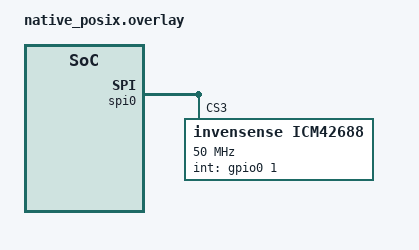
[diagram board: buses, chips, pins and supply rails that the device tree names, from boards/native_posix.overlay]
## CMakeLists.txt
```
# Copyright (c) 2023 Google LLC
# SPDX-License-Identifier: Apache-2.0

cmake_minimum_required(VERSION 3.28.0)
find_package(Zephyr REQUIRED HINTS $ENV{ZEPHYR_BASE})
project(device)

target_sources(app PRIVATE src/main.c)
```

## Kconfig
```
# Copyright (c) 2024 CogniPilot Foundation
# SPDX-License-Identifier: Apache-2.0

mainmenu "ICM42688 Test"

source "Kconfig.zephyr"

config ICM42688_TEST_EMUL
	bool "run emulation test"
```

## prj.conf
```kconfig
# Copyright (c) 2023 Google LLC
# SPDX-License-Identifier: Apache-2.0

CONFIG_ZTEST=y

# Enable GPIO
CONFIG_GPIO=y

# Enable sensors
CONFIG_SENSOR=y

# Enable emulation
CONFIG_EMUL=y

CONFIG_SENSOR_ASYNC_API=y
CONFIG_SENSOR_CLOCK_SYSTEM=y
```

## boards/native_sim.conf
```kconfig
CONFIG_ICM42688_TEST_EMUL=y
```

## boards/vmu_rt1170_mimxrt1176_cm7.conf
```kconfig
CONFIG_ICM42688_TEST_EMUL=n
CONFIG_DEBUG=y
CONFIG_SPEED_OPTIMIZATIONS=n
CONFIG_SIZE_OPTIMIZATIONS=n
CONFIG_SENSOR_SHELL_STREAM=y
CONFIG_SENSOR_LOG_LEVEL_DBG=n
CONFIG_RTIO_SUBMIT_SEM=y
CONFIG_SPI_RTIO=y
CONFIG_SPI_ASYNC=y
CONFIG_SYS_CLOCK_TICKS_PER_SEC=10000
```

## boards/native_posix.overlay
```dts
/* Copyright (c) 2023 Google LLC
 * SPDX-License-Identifier: Apache-2.0
 */

&spi0 {
	icm42688: icm42688@3 {
		compatible = "invensense,icm42688";
		int-gpios = <&gpio0 1 GPIO_ACTIVE_HIGH>;
		spi-max-frequency = <DT_FREQ_M(50)>;
		reg = <3>;
	};
};
```

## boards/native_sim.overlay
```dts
/* Copyright (c) 2023 Google LLC
 * SPDX-License-Identifier: Apache-2.0
 */

&spi0 {
	icm42688: icm42688@3 {
		compatible = "invensense,icm42688", "invensense,icm4268x";
		reg = <3>;
		int-gpios = <&gpio0 1 GPIO_ACTIVE_HIGH>;
		spi-max-frequency = <50000000>;
	};
};
```

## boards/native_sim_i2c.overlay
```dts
/* Copyright (c) 2023 Google LLC
 * SPDX-License-Identifier: Apache-2.0
 */

&spi0 {
	status = "disabled";
};

&i2c0 {
	clock-frequency = <I2C_BITRATE_FAST_PLUS>;

	icm42688: icm42688@3 {
		compatible = "invensense,icm42688";
		status = "okay";
		int-gpios = <&gpio0 1 GPIO_ACTIVE_HIGH>;
		reg = <3>;
	};
};
```

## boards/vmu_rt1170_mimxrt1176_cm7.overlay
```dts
/* SPDX-License-Identifier: Apache-2.0 */
/* Copyright 2023 CogniPilot Foundation */

&lpspi1 {
	/delete-node/ icm42688p0@0;
	/delete-property/ dmas;
	/delete-property/ dma-names;
};
```

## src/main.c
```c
/*
 * Copyright (c) 2023 Google LLC
 * SPDX-License-Identifier: Apache-2.0
 */

#include <zephyr/device.h>
#include <zephyr/devicetree.h>
#include <zephyr/drivers/emul.h>
#include <zephyr/drivers/gpio.h>
#include <zephyr/drivers/gpio/gpio_emul.h>
#include <zephyr/drivers/sensor.h>
#include <zephyr/fff.h>
#include <zephyr/ztest.h>

#include <icm4268x_emul.h>
#include <icm4268x_reg.h>

#define NODE DT_NODELABEL(icm42688)

DEFINE_FFF_GLOBALS;

struct icm42688_fixture {
	const struct device *dev;
	const struct emul *target;
};

static void *icm42688_setup(void)
{
	static struct icm42688_fixture fixture = {
		.dev = DEVICE_DT_GET(DT_NODELABEL(icm42688)),
		.target = EMUL_DT_GET(DT_NODELABEL(icm42688)),
	};

	zassert_not_null(fixture.dev);
	zassert_not_null(fixture.target);
	return &fixture;
}

ZTEST_SUITE(icm42688, NULL, icm42688_setup, NULL, NULL, NULL);

ZTEST_F(icm42688, test_fetch_fail_no_ready_data)
{
	uint8_t status = 0;

	icm4268x_emul_set_reg(fixture->target, REG_INT_STATUS, &status, 1);
	zassert_equal(-EBUSY, sensor_sample_fetch(fixture->dev));
}

static void test_fetch_temp_mc(const struct icm42688_fixture *fixture, int16_t temperature_mc)
{
	struct sensor_value value;
	int64_t expected_uc;
	int64_t actual_uc;
	int16_t temperature_reg;
	uint8_t buffer[2];

	/* Set the INT_STATUS register to show we have data */
	buffer[0] = BIT_DATA_RDY_INT;
	icm4268x_emul_set_reg(fixture->target, REG_INT_STATUS, buffer, 1);

	/*
	 * Set the temperature data to 22.5C via:
	 *   reg_val / 132.48 + 25
	 */
	temperature_reg = ((temperature_mc - 25000) * 13248) / 100000;
	buffer[0] = (temperature_reg >> 8) & GENMASK(7, 0);
	buffer[1] = temperature_reg & GENMASK(7, 0);
	icm4268x_emul_set_reg(fixture->target, REG_TEMP_DATA1, buffer, 2);

	/* Fetch the data */
	zassert_ok(sensor_sample_fetch(fixture->dev));
	zassert_ok(sensor_channel_get(fixture->dev, SENSOR_CHAN_DIE_TEMP, &value));

	/* Assert data is within 5 milli-C of the tested temperature */
	expected_uc = temperature_mc * INT64_C(1000);
	actual_uc = sensor_value_to_micro(&value);
	zassert_within(expected_uc, actual_uc, INT64_C(5000),
		       "Expected %" PRIi64 "uC, got %" PRIi64 "uC", expected_uc, actual_uc);
}

ZTEST_F(icm42688, test_fetch_temp)
{
	/* Test 22.5C */
	test_fetch_temp_mc(fixture, 22500);
	/* Test -3.175C */
	test_fetch_temp_mc(fixture, -3175);
}

static void test_fetch_accel_with_range(const struct icm42688_fixture *fixture,
					int16_t accel_range_g, const int16_t accel_percent[3])
{
	struct sensor_value values[3];
	int32_t expect_ug;
	int32_t actual_ug;
	uint8_t register_buffer[6];

	/* Se the INT_STATUS register to show we have data */
	register_buffer[0] = BIT_DATA_RDY_INT;
	icm4268x_emul_set_reg(fixture->target, REG_INT_STATUS, register_buffer, 1);

	/* Set accel range */
	sensor_g_to_ms2(accel_range_g, &values[0]);
	zassert_ok(sensor_attr_set(fixture->dev, SENSOR_CHAN_ACCEL_XYZ, SENSOR_ATTR_FULL_SCALE,
				   &values[0]));

	/* Set the accel data accel_percent * accel_range_g */
	for (int i = 0; i < 3; ++i) {
		register_buffer[i * 2] = (accel_percent[i] >> 8) & GENMASK(7, 0);
		register_buffer[i * 2 + 1] = accel_percent[i] & GENMASK(7, 0);
	}
	icm4268x_emul_set_reg(fixture->target, REG_ACCEL_DATA_X1, register_buffer, 6);

	/* Fetch the data */
	zassert_ok(sensor_sample_fetch(fixture->dev));
	zassert_ok(sensor_channel_get(fixture->dev, SENSOR_CHAN_ACCEL_XYZ, values));

	/* Assert the data is within 0.005g (0.05m/s2) */
	actual_ug = sensor_ms2_to_ug(&values[0]);
	expect_ug = (int32_t)(accel_percent[0] * INT64_C(1000000) * accel_range_g / INT16_MAX);
	zassert_within(expect_ug, actual_ug, INT32_C(5000),
		       "Expected %" PRIi32 " ug, got X=%" PRIi32 " ug", expect_ug, actual_ug);

	actual_ug = sensor_ms2_to_ug(&values[1]);
	expect_ug = (int32_t)(accel_percent[1] * INT64_C(1000000) * accel_range_g / INT16_MAX);
	zassert_within(expect_ug, actual_ug, INT32_C(5000),
		       "Expected %" PRIi32 " ug, got X=%" PRIi32 " ug", expect_ug, actual_ug);

	actual_ug = sensor_ms2_to_ug(&values[2]);
	expect_ug = (int32_t)(accel_percent[2] * INT64_C(1000000) * accel_range_g / INT16_MAX);
	zassert_within(expect_ug, actual_ug, INT32_C(5000),
		       "Expected %" PRIi32 " ug, got X=%" PRIi32 " ug", expect_ug, actual_ug);
}

ZTEST_F(icm42688, test_fetch_accel)
{
	/* Use (0.25, -0.33.., 0.91) * range for testing accel values */
	const int16_t accel_percent[3] = {
		INT16_MAX / INT16_C(4),
		INT16_MIN / INT16_C(3),
		(int16_t)((INT16_MAX * INT32_C(91)) / INT32_C(100)),
	};

	test_fetch_accel_with_range(fixture, 2, accel_percent);
	test_fetch_accel_with_range(fixture, 4, accel_percent);
	test_fetch_accel_with_range(fixture, 8, accel_percent);
	test_fetch_accel_with_range(fixture, 16, accel_percent);
}

static void test_fetch_gyro_with_range(const struct icm42688_fixture *fixture, int32_t scale_mdps,
				       const int16_t gyro_percent[3])
{
	/* Set the epsilon to 0.075% of the scale */
	const int32_t epsilon_10udps = scale_mdps * 75 / 1000;
	struct sensor_value values[3];
	int32_t expect_10udps;
	int32_t actual_10udps;
	uint8_t register_buffer[6];

	/* Se the INT_STATUS register to show we have data */
	register_buffer[0] = BIT_DATA_RDY_INT;
	icm4268x_emul_set_reg(fixture->target, REG_INT_STATUS, register_buffer, 1);

	/* Set gyro range */
	sensor_degrees_to_rad((scale_mdps / 1000) + (scale_mdps % 1000 == 0 ? 0 : 1), &values[0]);
	zassert_ok(sensor_attr_set(fixture->dev, SENSOR_CHAN_GYRO_XYZ, SENSOR_ATTR_FULL_SCALE,
				   &values[0]));

	/* Set the gyro data to gyro_percent */
	for (int i = 0; i < 3; ++i) {
		register_buffer[i * 2] = (gyro_percent[i] >> 8) & GENMASK(7, 0);
		register_buffer[i * 2 + 1] = gyro_percent[i] & GENMASK(7, 0);
	}
	icm4268x_emul_set_reg(fixture->target, REG_GYRO_DATA_X1, register_buffer, 6);

	/* Fetch the data */
	zassert_ok(sensor_sample_fetch(fixture->dev));
	zassert_ok(sensor_channel_get(fixture->dev, SENSOR_CHAN_GYRO_XYZ, values));

	/* Assert the data is within 0.5 d/s (0.001 rad/s) */
	actual_10udps = sensor_rad_to_10udegrees(&values[0]);
	expect_10udps = (int32_t)(gyro_percent[0] * INT64_C(100) * scale_mdps / INT16_MAX);
	zassert_within(expect_10udps, actual_10udps, epsilon_10udps,
		       "[scale=%" PRIi32 "md/s] Expected %" PRIi32 " 10ud/s, got %" PRIi32
		       " 10ud/s",
		       scale_mdps, expect_10udps, actual_10udps);

	actual_10udps = sensor_rad_to_10udegrees(&values[1]);
	expect_10udps = (int32_t)(gyro_percent[1] * INT64_C(100) * scale_mdps / INT16_MAX);
	zassert_within(expect_10udps, actual_10udps, epsilon_10udps,
		       "[scale=%" PRIi32 "md/s] Expected %" PRIi32 " 10ud/s, got %" PRIi32
		       " 10ud/s, ",
		       scale_mdps, expect_10udps, actual_10udps);

	actual_10udps = sensor_rad_to_10udegrees(&values[2]);
	expect_10udps = (int32_t)(gyro_percent[2] * INT64_C(100) * scale_mdps / INT16_MAX);
	zassert_within(expect_10udps, actual_10udps, epsilon_10udps,
		       "[scale=%" PRIi32 "md/s] Expected %" PRIi32 " 10ud/s, got %" PRIi32
		       " 10ud/s",
		       scale_mdps, expect_10udps, actual_10udps);
}

ZTEST_F(icm42688, test_fetch_gyro)
{
	/* Use (0.15, 0.68, -0.22) * range for testing gyro values */
	const int16_t gyro_percent[3] = {
		(int16_t)((INT16_MAX * INT32_C(15)) / INT32_C(100)),
		(int16_t)((INT16_MAX * INT32_C(68)) / INT32_C(100)),
		(int16_t)((INT16_MAX * INT32_C(-22)) / INT32_C(100)),
	};

	test_fetch_gyro_with_range(fixture, 2000000, gyro_percent);
	test_fetch_gyro_with_range(fixture, 1000000, gyro_percent);
	test_fetch_gyro_with_range(fixture, 500000, gyro_percent);
	test_fetch_gyro_with_range(fixture, 250000, gyro_percent);
	test_fetch_gyro_with_range(fixture, 125000, gyro_percent);
	test_fetch_gyro_with_range(fixture, 62500, gyro_percent);
	test_fetch_gyro_with_range(fixture, 31250, gyro_percent);
	test_fetch_gyro_with_range(fixture, 15625, gyro_percent);
}

FAKE_VOID_FUNC(test_interrupt_trigger_handler, const struct device*, const struct sensor_trigger*);

ZTEST_F(icm42688, test_interrupt)
{
	const struct gpio_dt_spec spec = GPIO_DT_SPEC_GET(NODE, int_gpios);
	const struct sensor_trigger trigger = {
		.type = SENSOR_TRIG_DATA_READY,
		.chan = SENSOR_CHAN_ALL,
	};

	RESET_FAKE(test_interrupt_trigger_handler);
	sensor_trigger_set(fixture->dev, &trigger, test_interrupt_trigger_handler);

	/* Toggle the GPIO */
	gpio_emul_input_set(spec.port, spec.pin, 0);
	k_msleep(5);
	gpio_emul_input_set(spec.port, spec.pin, 1);
	k_msleep(5);

	/* Verify the handler was called */
	zassert_equal(test_interrupt_trigger_handler_fake.call_count, 1);
}
```

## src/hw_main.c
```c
/*
 * Copyright (c) 2024 CogniPilot Foundation
 * SPDX-License-Identifier: Apache-2.0
 */

#include <stdio.h>
#include <math.h>
#include <zephyr/device.h>
#include <zephyr/kernel.h>
#include <zephyr/ztest.h>
#include <zephyr/rtio/rtio.h>
#include <zephyr/drivers/sensor.h>
#include <zephyr/logging/log.h>

#define BATCH_DURATION 50

double q31_to_double(int32_t q31_value, int8_t shift)
{
	return ((double)q31_value) / (double)(1 << (31 - shift));
}

static struct rtio_sqe *streaming_handle;

static struct sensor_stream_trigger stream_trigger = {
	.opt = SENSOR_STREAM_DATA_INCLUDE,
	.trigger = SENSOR_TRIG_FIFO_WATERMARK,
};

static struct sensor_read_config stream_config = {
	.sensor = DEVICE_DT_GET(DT_NODELABEL(icm42688_1)),
	.is_streaming = true,
	.triggers = &stream_trigger,
	.count = 0,
	.max = 1,
};

static RTIO_IODEV_DEFINE(iodev_stream, &__sensor_iodev_api, &stream_config);
RTIO_DEFINE_WITH_MEMPOOL(rtio, 4, 4, 32, 64, 4);

static void callback(int result, uint8_t *buf, uint32_t buf_len, void *userdata)
{
	static uint8_t decoded_buffer[127];

	zassert_not_null(stream_config.sensor->api);
	const struct sensor_decoder_api *decoder;
	zassert_ok(sensor_get_decoder(stream_config.sensor, &decoder));
	int channels[] = {
		SENSOR_CHAN_GYRO_XYZ,
		SENSOR_CHAN_ACCEL_XYZ,
	};

	for (int i = 0; i < ARRAY_SIZE(channels); i++) {
		int chan = channels[i];
		struct sensor_chan_spec ch = {
			.chan_idx = 0,
			.chan_type = chan,
		};

		uint32_t fit = 0;
		int count = 0;

		while (decoder->decode(buf, ch, &fit, 1, decoded_buffer) > 0) {
			zassert(count++ < 127, "fifo overflow");
			if (ch.chan_type == SENSOR_CHAN_ACCEL_XYZ) {
				struct sensor_three_axis_data *data =
					(struct sensor_three_axis_data *)decoded_buffer;
				double x = q31_to_double(data->readings[0].values[0], data->shift);
				double y = q31_to_double(data->readings[0].values[1], data->shift);
				double z = q31_to_double(data->readings[0].values[2], data->shift);
				zassert(fabs(x) < 1.0, "fail", "accel x out of range: %10.4f", x);
				zassert(fabs(y) < 1.0, "fail", "accel y out of range: %10.4f", y);
				zassert(fabs(z - 9.8) < 1.0, "fail",
					"accel z out of range: %10.4f", z);
			} else if (ch.chan_type == SENSOR_CHAN_GYRO_XYZ) {
				struct sensor_three_axis_data *data =
					(struct sensor_three_axis_data *)decoded_buffer;
				double x = q31_to_double(data->readings[0].values[0], data->shift);
				double y = q31_to_double(data->readings[0].values[1], data->shift);
				double z = q31_to_double(data->readings[0].values[2], data->shift);
				zassert(fabs(x) < 0.1, "fail", "gyro x out of range: %10.4f", x);
				zassert(fabs(y) < 0.1, "fail", "gyro y out of range: %10.4f", y);
				zassert(fabs(z) < 0.1, "fail", "gyro z out of range: %10.4f", z);
			}
		}
	}
}

ZTEST(icm42688_stream, test_icm42688_stream)
{
	stream_config.count = 1;
	struct sensor_value val_in = { BATCH_DURATION, 0 };
	zassert_ok(sensor_attr_set(
		stream_config.sensor,
		SENSOR_CHAN_ALL,
		SENSOR_ATTR_BATCH_DURATION, &val_in));
	struct sensor_value val_out;
	zassert_ok(sensor_attr_get(
		stream_config.sensor,
		SENSOR_CHAN_ALL,
		SENSOR_ATTR_BATCH_DURATION, &val_out));
	zassert_equal(val_in.val1, val_out.val1);
	zassert_ok(sensor_stream(&iodev_stream, &rtio, NULL,
		&streaming_handle));
	sensor_processing_with_callback(&rtio, callback);
	zassert_ok(rtio_sqe_cancel(streaming_handle));
}

static void *icm42688_stream_setup(void)
{
	return NULL;
}


ZTEST_SUITE(icm42688_stream, NULL, icm42688_stream_setup, NULL, NULL, NULL);
```
